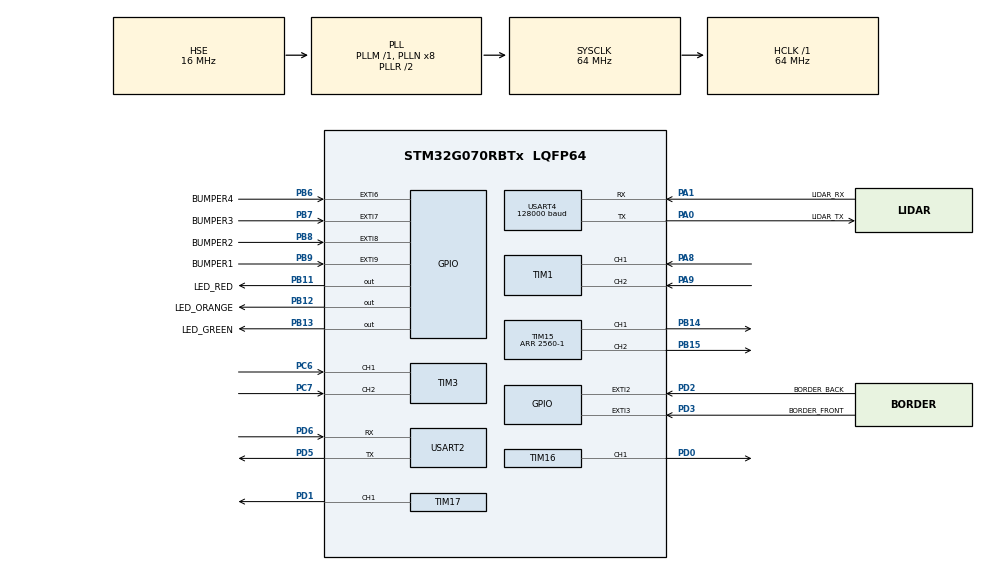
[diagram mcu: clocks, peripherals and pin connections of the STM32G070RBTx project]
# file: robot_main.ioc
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Dma.Request0=USART4_RX
Dma.USART4_RX.0.Direction=DMA_PERIPH_TO_MEMORY
Dma.USART4_RX.0.EventEnable=DISABLE
Dma.USART4_RX.0.Instance=DMA1_Channel1
Dma.USART4_RX.0.MemDataAlignment=DMA_MDATAALIGN_BYTE
Dma.USART4_RX.0.MemInc=DMA_MINC_ENABLE
Dma.USART4_RX.0.Mode=DMA_NORMAL
Dma.USART4_RX.0.PeriphDataAlignment=DMA_PDATAALIGN_BYTE
Dma.USART4_RX.0.PeriphInc=DMA_PINC_DISABLE
Dma.USART4_RX.0.Polarity=HAL_DMAMUX_REQ_GEN_RISING
Dma.USART4_RX.0.Priority=DMA_PRIORITY_LOW
Dma.USART4_RX.0.RequestNumber=1
Dma.USART4_RX.0.SignalID=NONE
Dma.USART4_RX.0.SyncEnable=DISABLE
Dma.USART4_RX.0.SyncPolarity=HAL_DMAMUX_SYNC_NO_EVENT
Dma.USART4_RX.0.SyncRequestNumber=1
Dma.USART4_RX.0.SyncSignalID=NONE
FREERTOS.INCLUDE_vTaskDelayUntil=1
FREERTOS.Tasks01=defaultTask,0,128,StartDefaultTask,Default,NULL,Dynamic,NULL,NULL
FREERTOS.configTOTAL_HEAP_SIZE=20480
FREERTOS.configUSE_NEWLIB_REENTRANT=1
Mcu.Family=STM32G0
Mcu.Name=STM32G070RBTx
Mcu.Package=LQFP64
NVIC.DMA1_Channel1_IRQn=true\:3\:0\:false\:false\:true\:false\:false\:true\:true
NVIC.EXTI2_3_IRQn=true\:3\:0\:false\:false\:true\:false\:true\:true\:true
NVIC.EXTI4_15_IRQn=true\:3\:0\:false\:false\:true\:true\:true\:true\:true
NVIC.TIM1_BRK_UP_TRG_COM_IRQn=true\:3\:0\:false\:false\:true\:true\:true\:true\:true
NVIC.TIM1_CC_IRQn=true\:3\:0\:false\:false\:true\:true\:true\:true\:true
NVIC.TIM3_IRQn=true\:3\:0\:false\:false\:true\:true\:true\:true\:true
NVIC.TIM6_IRQn=true\:3\:0\:false\:false\:true\:false\:false\:true\:true
NVIC.TimeBase=TIM6_IRQn
NVIC.TimeBaseIP=TIM6
NVIC.USART2_IRQn=true\:3\:0\:false\:false\:true\:true\:true\:true\:true
NVIC.USART3_4_IRQn=true\:3\:0\:false\:false\:true\:false\:true\:true\:true
PA0.GPIO_Label=LIDAR_TX
PA0.Mode=Asynchronous
PA0.Signal=USART4_TX
PA1.GPIO_Label=LIDAR_RX
PA1.Mode=Asynchronous
PA1.Signal=USART4_RX
PA13.Mode=Serial_Wire
PA13.Signal=SYS_SWDIO
PA14-BOOT0.Mode=Serial_Wire
PA14-BOOT0.Signal=SYS_SWCLK
PA8.Signal=S_TIM1_CH1
PA9.Signal=S_TIM1_CH2
PB11.GPIO_Label=LED_RED
PB11.Signal=GPIO_Output
PB12.GPIO_Label=LED_ORANGE
PB12.Signal=GPIO_Output
PB13.GPIO_Label=LED_GREEN
PB13.Signal=GPIO_Output
PB14.Signal=S_TIM15_CH1
PB15.Signal=S_TIM15_CH2
PB6.GPIO_Label=BUMPER4
PB6.GPIO_PuPd=GPIO_PULLUP
PB6.Signal=GPXTI6
PB7.GPIO_Label=BUMPER3
PB7.GPIO_PuPd=GPIO_PULLUP
PB7.Signal=GPXTI7
PB8.GPIO_Label=BUMPER2
PB8.GPIO_PuPd=GPIO_PULLUP
PB8.Signal=GPXTI8
PB9.GPIO_Label=BUMPER1
PB9.GPIO_PuPd=GPIO_PULLUP
PB9.Signal=GPXTI9
PC14-OSC32_IN\ (PC14).Mode=LSE-External-Oscillator
PC14-OSC32_IN\ (PC14).Signal=RCC_OSC32_IN
PC15-OSC32_OUT\ (PC15).Mode=LSE-External-Oscillator
PC15-OSC32_OUT\ (PC15).Signal=RCC_OSC32_OUT
PC6.Signal=S_TIM3_CH1
PC7.Signal=S_TIM3_CH2
PD0.Signal=S_TIM16_CH1
PD1.Signal=S_TIM17_CH1
PD2.GPIO_Label=BORDER_BACK
PD2.Signal=GPXTI2
PD3.GPIO_Label=BORDER_FRONT
PD3.Signal=GPXTI3
PD5.Mode=Asynchronous
PD5.Signal=USART2_TX
PD6.Mode=Asynchronous
PD6.Signal=USART2_RX
PF0-OSC_IN\ (PF0).Mode=HSE-External-Oscillator
PF0-OSC_IN\ (PF0).Signal=RCC_OSC_IN
PF1-OSC_OUT\ (PF1).Mode=HSE-External-Oscillator
PF1-OSC_OUT\ (PF1).Signal=RCC_OSC_OUT
ProjectManager.HeapSize=0x200
ProjectManager.StackSize=0x400
ProjectManager.TargetToolchain=STM32CubeIDE
RCC.ADCFreq_Value=64000000
RCC.AHBFreq_Value=64000000
RCC.CortexFreq_Value=64000000
RCC.EXTERNAL_CLOCK_VALUE=48000
RCC.HCLKFreq_Value=64000000
RCC.HSE_VALUE=16000000
RCC.HSI_VALUE=16000000
RCC.PLLSourceVirtual=RCC_PLLSOURCE_HSE
RCC.SYSCLKFreq_VALUE=64000000
RCC.SYSCLKSource=RCC_SYSCLKSOURCE_PLLCLK
RCC.VCOOutputFreq_Value=128000000
SH.S_TIM15_CH1.0=TIM15_CH1,PWM Generation1 CH1
SH.S_TIM15_CH2.0=TIM15_CH2,PWM Generation2 CH2
SH.S_TIM16_CH1.0=TIM16_CH1,PWM Generation1 CH1
SH.S_TIM17_CH1.0=TIM17_CH1,PWM Generation1 CH1
SH.S_TIM1_CH1.0=TIM1_CH1,Encoder_Interface
SH.S_TIM1_CH2.0=TIM1_CH2,Encoder_Interface
SH.S_TIM3_CH1.0=TIM3_CH1,Encoder_Interface
SH.S_TIM3_CH2.0=TIM3_CH2,Encoder_Interface
TIM1.AutoReloadPreload=TIM_AUTORELOAD_PRELOAD_ENABLE
TIM1.EncoderMode=TIM_ENCODERMODE_TI12
TIM15.Channel-PWM\ Generation1\ CH1=TIM_CHANNEL_1
TIM15.Channel-PWM\ Generation2\ CH2=TIM_CHANNEL_2
TIM15.Period=2560-1
TIM16.Channel=TIM_CHANNEL_1
TIM16.Period=2560-1
TIM17.Channel=TIM_CHANNEL_1
TIM17.Period=2560-1
TIM3.AutoReloadPreload=TIM_AUTORELOAD_PRELOAD_ENABLE
TIM3.EncoderMode=TIM_ENCODERMODE_TI12
USART2.SwapParam=ADVFEATURE_SWAP_ENABLE
USART2.VirtualMode-Asynchronous=VM_ASYNC
USART4.BaudRate=128000
USART4.SwapParam=ADVFEATURE_SWAP_ENABLE
USART4.VirtualMode-Asynchronous=VM_ASYNC
VP_FREERTOS_VS_CMSIS_V1.Mode=CMSIS_V1
VP_SYS_VS_tim6.Mode=TIM6
VP_TIM15_VS_ClockSourceINT.Mode=Internal
VP_TIM16_VS_ClockSourceINT.Mode=Enable_Timer
VP_TIM17_VS_ClockSourceINT.Mode=Enable_Timer
board=custom

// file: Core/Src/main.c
/* USER CODE BEGIN Header */
/**
 ******************************************************************************
 * @file           : main.c
 * @brief          : Main program body
 ******************************************************************************
 * @attention
 *
 * Copyright (c) 2023 STMicroelectronics.
 * All rights reserved.
 *
 * This software is licensed under terms that can be found in the LICENSE file
 * in the root directory of this software component.
 * If no LICENSE file comes with this software, it is provided AS-IS.
 *
 ******************************************************************************
 */
/* USER CODE END Header */
#include "main.h"
#include "cmsis_os.h"
#include "dma.h"
#include "tim.h"
#include "usart.h"
#include "gpio.h"

/* USER CODE BEGIN Includes */
#include "led.h"
#include "shell_founction.h"
#include "ydlidar.h"
#include "board.h"
#include "bumper.h"
#include "dcMotor.h"
#include "system.h"
#include "motorInterface.h"
/* USER CODE END Includes */

void SystemClock_Config(void);
void MX_FREERTOS_Init(void);

/* USER CODE BEGIN 0 */
// Task handle
TaskHandle_t StartTask_Handler;
void start_task(void *pvParameters)
{
    taskENTER_CRITICAL(); // enter critical section
    // Create LED task
    createLedTask();
    // Create shell task
    // createShellTask();
    // create motor task
    // createDcMotorTask();
    // Create board task
    // createBoardTask();
    // Create bumper task
    // createBumperTask();
    // Create ydlidar task
    createYdlidarTask();
    // Create avoid task
    createSystemTask();
    // delete start task
    vTaskDelete(StartTask_Handler); // delete start task
    taskEXIT_CRITICAL();            // exit critical section
}

/* USER CODE END 0 */

int main(void)
{

  /* MCU Configuration--------------------------------------------------------*/

  /* Reset of all peripherals, Initializes the Flash interface and the Systick. */
  HAL_Init();

  /* Configure the system clock */
  SystemClock_Config();

  /* Initialize all configured peripherals */
  MX_GPIO_Init();
  MX_DMA_Init();
  MX_TIM17_Init();
  MX_TIM15_Init();
  MX_TIM16_Init();
  MX_TIM1_Init();
  MX_TIM3_Init();
  MX_USART2_UART_Init();
  MX_USART4_UART_Init();
  /* USER CODE BEGIN 2 */
    // encoder mode using PA8 for the input signal,and PA8 is also using for the syscfg register,so we need to disable the syscfg register[8]
    SYSCFG->CFGR1 |= (1 << 9);
    printf("\r\n\r\n>>>>>>>>>>>>>>Projet Robot Start<<<<<<<<<<<<<<\r\n");
    // system init
    systemInit();
    // HAL_Delay(5000);
    // while (1)
    // {
    //     moteur_controle_dPWM(190, 250);
    //     HAL_Delay(2000);
    //     motorStop();
    //     HAL_Delay(2000);
    // }

    xTaskCreate((TaskFunction_t)start_task, // task function
                (const char *)"start_task", // task name
                (uint16_t)256,              // stack size
                (void *)NULL,               // parameter
                (UBaseType_t)1,             // priority
                (TaskHandle_t *)&StartTask_Handler);
    vTaskStartScheduler();

  /* USER CODE END 2 */

  /* Call init function for freertos objects (in freertos.c) */
  MX_FREERTOS_Init();

  /* Start scheduler */
  osKernelStart();

  /* We should never get here as control is now taken by the scheduler */
  /* Infinite loop */
    while (1)
    {

    }
}

void SystemClock_Config(void)
{
  RCC_OscInitTypeDef RCC_OscInitStruct = {0};
  RCC_ClkInitTypeDef RCC_ClkInitStruct = {0};

  /** Configure the main internal regulator output voltage
  */
  HAL_PWREx_ControlVoltageScaling(PWR_REGULATOR_VOLTAGE_SCALE1);

  /** Initializes the RCC Oscillators according to the specified parameters
  * in the RCC_OscInitTypeDef structure.
  */
  RCC_OscInitStruct.OscillatorType = RCC_OSCILLATORTYPE_HSE;
  RCC_OscInitStruct.HSEState = RCC_HSE_ON;
  RCC_OscInitStruct.PLL.PLLState = RCC_PLL_ON;
  RCC_OscInitStruct.PLL.PLLSource = RCC_PLLSOURCE_HSE;
  RCC_OscInitStruct.PLL.PLLM = RCC_PLLM_DIV1;
  RCC_OscInitStruct.PLL.PLLN = 8;
  RCC_OscInitStruct.PLL.PLLP = RCC_PLLP_DIV2;
  RCC_OscInitStruct.PLL.PLLR = RCC_PLLR_DIV2;
  if (HAL_RCC_OscConfig(&RCC_OscInitStruct) != HAL_OK)
  {
    Error_Handler();
  }

  /** Initializes the CPU, AHB and APB buses clocks
  */
  RCC_ClkInitStruct.ClockType = RCC_CLOCKTYPE_HCLK|RCC_CLOCKTYPE_SYSCLK
                              |RCC_CLOCKTYPE_PCLK1;
  RCC_ClkInitStruct.SYSCLKSource = RCC_SYSCLKSOURCE_PLLCLK;
  RCC_ClkInitStruct.AHBCLKDivider = RCC_SYSCLK_DIV1;
  RCC_ClkInitStruct.APB1CLKDivider = RCC_HCLK_DIV1;

  if (HAL_RCC_ClockConfig(&RCC_ClkInitStruct, FLASH_LATENCY_2) != HAL_OK)
  {
    Error_Handler();
  }
}

void HAL_TIM_PeriodElapsedCallback(TIM_HandleTypeDef *htim)
{
  if (htim->Instance == TIM6) {
    HAL_IncTick();
  }
  /* USER CODE BEGIN Callback 1 */
    if (htim->Instance == TIM3) // encooder compter  motor 1
    {
        //   Determine the current counter counting direction
        if (__HAL_TIM_IS_TIM_COUNTING_DOWN(htim))
        //     underflow, count down
        {
            Encoder_Overflow_Count--;
        }
        else
        {
            //   overflow, count up
            Encoder_Overflow_Count++;
        }
    }
    else if (htim->Instance == TIM1) // encooder compter  motor 1
    {
        /* Determine the current counter counting direction */
        if (__HAL_TIM_IS_TIM_COUNTING_DOWN(htim))
        /* underflow, count down */
        {
            Encoder_Overflow_Count2--;
        }
        else
        {
            /* overflow, count up */
            Encoder_Overflow_Count2++;
        }
    }
  /* USER CODE END Callback 1 */
}

void Error_Handler(void)
{
  /* USER CODE BEGIN Error_Handler_Debug */
    /* User can add his own implementation to report the HAL error return state */
    __disable_irq();
    while (1)
    {
        HAL_GPIO_TogglePin(LED_ORANGE_GPIO_Port, LED_ORANGE_Pin);
        printf("error\r\n");
    }
  /* USER CODE END Error_Handler_Debug */
}
